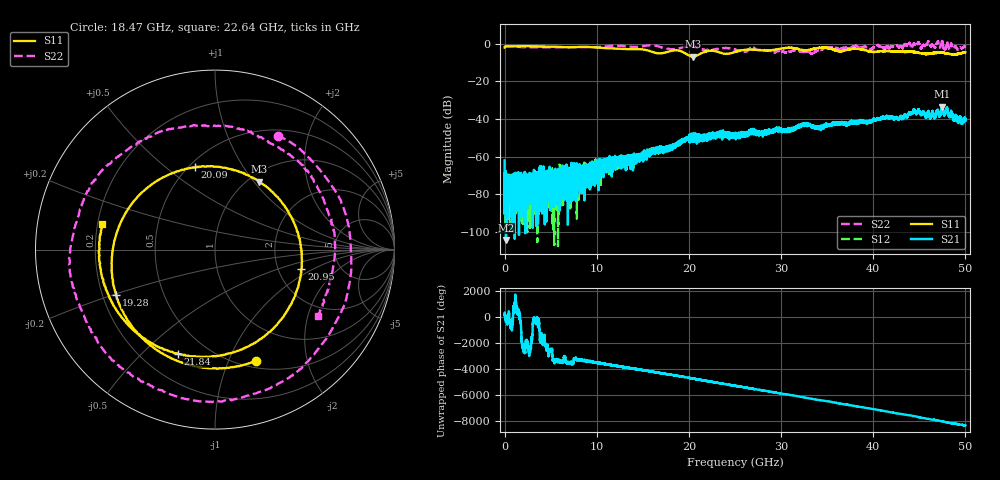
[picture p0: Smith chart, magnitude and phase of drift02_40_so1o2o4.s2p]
!Created with skrf (http://scikit-rf.org).
# Hz S RI R 50.0
!freq ReS11 ImS11 ReS21 ImS21 ReS12 ImS12 ReS22 ImS22
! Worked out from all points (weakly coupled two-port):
!   10001 points, 300 kHz to 50 GHz, reference 50 ohm
!   highest |S21| = -33.55 dB at 47.48 GHz (marker M1); lowest = -104.2 dB at 150.3 MHz (marker M2)
!   lowest |S11| = -6.9 dB at 20.42 GHz (marker M3), VSWR 2.64, Z = 55.9 + j53 ohm
!   |S11| at or under -10 dB: nowhere
!   |S22| runs from -5.3 to 1.7 dB; largest |S21 - S12| = 0.0035
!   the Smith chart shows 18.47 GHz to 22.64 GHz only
!   S11 on the Smith chart (normalised r, x): 18.47 GHz: 0.58, -1.26; 19.28 GHz: 0.26, -0.21; 20.09 GHz: 0.54, +0.64; 20.95 GHz: 2.69, -0.78; 21.84 GHz: 0.35, -0.65; 22.64 GHz: 0.22, +0.11
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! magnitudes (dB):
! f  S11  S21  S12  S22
! 300 kHz  -2.1  -62.1  -67.7  -1.3
! 150.3 MHz  -1.5  -104.2  -77.4  -1.4
! 255.3 MHz  -1.4  -71.7  -77.7  -1.4
! 930.3 MHz  -1.5  -85.9  -76.8  -1.5
! 5.03 GHz  -1.6  -73.4  -74.2  -2.0
! 5.605 GHz  -1.7  -73.3  -80.7  -2.0
! 8.335 GHz  -1.7  -67.6  -67.3  -1.9
! 16.67 GHz  -5.2  -56.7  -55.0  -1.5
! 18.47 GHz  -3.6  -54.9  -54.3  -2.8
! 19.28 GHz  -4.3  -51.4  -51.4  -2.1
! 20.09 GHz  -6.5  -51.4  -50.6  -1.5
! 20.42 GHz  -6.9  -49.2  -49.8  -1.7
! 20.95 GHz  -6.1  -49.7  -49.8  -2.3
! 21.84 GHz  -4.2  -50.0  -50.2  -3.5
! 22.64 GHz  -3.8  -47.9  -49.6  -3.3
! 25 GHz  -4.5  -48.8  -48.7  -3.2
! 26.9 GHz  -3.2  -45.4  -46.4  -1.7
! 33.34 GHz  -3.0  -43.4  -43.8  -5.2
! 34.89 GHz  -2.2  -43.9  -43.4  -2.1
! 41.67 GHz  -3.9  -39.2  -39.5  -2.2
! 47.48 GHz  -4.8  -33.6  -33.8  1.4
! 50 GHz  -4.6  -40.7  -41.0  -1.5
